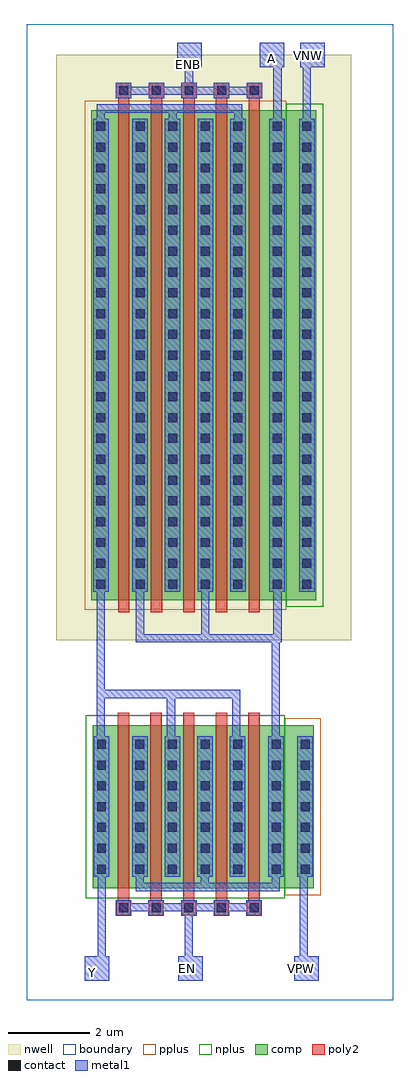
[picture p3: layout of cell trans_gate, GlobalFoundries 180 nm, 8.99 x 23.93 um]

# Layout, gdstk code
import gdstk
lib = gdstk.Library(unit=1e-6, precision=1e-09)
def R(c, l, rs):  # rectangles x0, y0, x1, y1
    for r in rs: c.add(gdstk.rectangle(r[:2], r[2:], *l))
def A(c, l, x, y, w, h, nx, ny, dx, dy):  # array of equal rectangles
    R(c, l, [(x+i*dx, y+j*dy, x+i*dx+w, y+j*dy+h) for i in range(nx) for j in range(ny)])
def P(c, l, *ps):  # polygons
    for p in ps: c.add(gdstk.Polygon(p, *l))
boundary = (0, 0)
nwell = (21, 0)
comp = (22, 0)
poly2 = (30, 0)
pplus = (31, 0)
nplus = (32, 0)
contact = (33, 0)
metal1 = (34, 0)

pfet = lib.new_cell('pfet')
R(pfet, nwell, [(-1.32,-0.99,5.91,13.37)])
R(pfet, comp, [(-0.46,0,5.05,12)])
P(pfet, poly2, [(0.19,-0.3),(0.19,12.3),(0.14,12.3),(0.14,12.68),(0.52,12.68),(0.52,12.3),(0.47,12.3),(0.47,-0.3)],
  [(0.99,-0.3),(0.99,12.3),(0.94,12.3),(0.94,12.68),(1.32,12.68),(1.32,12.3),(1.27,12.3),(1.27,-0.3)],
  [(1.79,-0.3),(1.79,12.3),(1.74,12.3),(1.74,12.68),(2.12,12.68),(2.12,12.3),(2.07,12.3),(2.07,-0.3)],
  [(2.59,-0.3),(2.59,12.3),(2.54,12.3),(2.54,12.68),(2.92,12.68),(2.92,12.3),(2.87,12.3),(2.87,-0.3)],
  [(3.39,-0.3),(3.39,12.3),(3.34,12.3),(3.34,12.68),(3.72,12.68),(3.72,12.3),(3.67,12.3),(3.67,-0.3)])
R(pfet, pplus, [(-0.63,-0.24,4.32,12.24)])
R(pfet, nplus, [(4.32,-0.17,5.22,12.17)])
A(pfet, contact, -0.34, 0.28, 0.22, 0.22, 1, 23, 0, 0.51)
A(pfet, contact, 0.62, 0.28, 0.22, 0.22, 4, 23, 0.8, 0.51)
A(pfet, contact, 3.98, 0.28, 0.22, 0.22, 1, 23, 0, 0.51)
A(pfet, contact, 4.71, 0.28, 0.22, 0.22, 1, 23, 0, 0.51)
A(pfet, contact, 0.22, 12.38, 0.22, 0.22, 5, 1, 0.8, 0)
A(pfet, metal1, 0.54, 0.2, 0.38, 11.6, 4, 1, 0.8, 0)
A(pfet, metal1, 0.14, 12.3, 0.38, 0.38, 5, 1, 0.8, 0)
R(pfet, metal1, [(-0.42,0.2,-0.04,11.8), (3.9,0.2,4.28,11.8), (4.63,0.2,5.01,11.8)])

nfet = lib.new_cell('nfet')
R(nfet, comp, [(-0.42,0,4.99,4)])
P(nfet, poly2, [(0.15,-0.66),(0.15,-0.3),(0.19,-0.3),(0.19,4.3),(0.47,4.3),(0.47,-0.3),(0.51,-0.3),(0.51,-0.66)],
  [(0.95,-0.66),(0.95,-0.3),(0.99,-0.3),(0.99,4.3),(1.27,4.3),(1.27,-0.3),(1.31,-0.3),(1.31,-0.66)],
  [(1.75,-0.66),(1.75,-0.3),(1.79,-0.3),(1.79,4.3),(2.07,4.3),(2.07,-0.3),(2.11,-0.3),(2.11,-0.66)],
  [(2.55,-0.66),(2.55,-0.3),(2.59,-0.3),(2.59,4.3),(2.87,4.3),(2.87,-0.3),(2.91,-0.3),(2.91,-0.66)],
  [(3.35,-0.66),(3.35,-0.3),(3.39,-0.3),(3.39,4.3),(3.67,4.3),(3.67,-0.3),(3.71,-0.3),(3.71,-0.66)])
R(nfet, pplus, [(4.28,-0.17,5.16,4.17)])
R(nfet, nplus, [(-0.59,-0.24,4.28,4.24)])
A(nfet, contact, 0.22, -0.59, 0.22, 0.22, 5, 1, 0.8, 0)
A(nfet, contact, -0.32, 0.36, 0.22, 0.22, 1, 7, 0, 0.51)
A(nfet, contact, 0.62, 0.36, 0.22, 0.22, 4, 7, 0.8, 0.51)
A(nfet, contact, 3.96, 0.36, 0.22, 0.22, 1, 7, 0, 0.51)
A(nfet, contact, 4.67, 0.36, 0.22, 0.22, 1, 7, 0, 0.51)
A(nfet, metal1, 0.14, -0.67, 0.38, 0.38, 5, 1, 0.8, 0)
A(nfet, metal1, 0.54, 0.28, 0.38, 3.44, 4, 1, 0.8, 0)
R(nfet, metal1, [(-0.4,0.28,-0.02,3.72), (3.88,0.28,4.26,3.72), (4.59,0.28,4.97,3.72)])

trans_gate = lib.new_cell('trans_gate')
R(trans_gate, boundary, [(-3.96,-6.97,5.03,16.955)])
R(trans_gate, metal1, [(-2.53,-6.5,-1.93,-5.9), (-0.24,-6.5,0.36,-5.9), (2.6,-6.5,3.2,-5.9), (2.73,-6.01,2.93,-3.84), (-2.24,-0.89,-2.04,0.43), (-0.52,-0.78,-0.32,0.43), (1.08,-0.78,1.28,0.43), (-2.24,0.43,1.28,0.63), (-1.28,1.795,2.28,1.995), (-1.28,1.995,-1.08,3.175), (0.32,1.995,0.52,3.175), (2.81,14.24,3.01,16), (-0.08,15.26,0.12,16.04), (-0.27,15.9,0.33,16.5), (1.76,15.9,2.36,16.5), (2.75,15.9,3.35,16.5)])
trans_gate.add(gdstk.FlexPath([(2.15,-1.635),(2.15,1.81)], 0.2, ends="flush", simple_path=True, layer=34, datatype=0))  # metal1
trans_gate.add(gdstk.FlexPath([(-2.115,-3.765),(-2.115,-6.08)], 0.2, ends="flush", simple_path=True, layer=34, datatype=0))  # metal1
trans_gate.add(gdstk.FlexPath([(2.19,14.435),(2.19,16.155)], 0.2, ends="flush", simple_path=True, layer=34, datatype=0))  # metal1
trans_gate.add(gdstk.FlexPath([(-2.14,3.23),(-2.14,0.505)], 0.2, ends="flush", simple_path=True, layer=34, datatype=0))  # metal1
trans_gate.add(gdstk.FlexPath([(-2.14,14.43),(-2.14,14.885),(-0.375,14.885),(-0.375,14.34)], 0.2, ends="flush", simple_path=True, layer=34, datatype=0))  # metal1
trans_gate.add(gdstk.FlexPath([(2.19,14.725),(2.19,1.795)], 0.2, ends="flush", simple_path=True, layer=34, datatype=0))  # metal1
trans_gate.add(gdstk.FlexPath([(1.23,14.425),(1.23,14.885),(-0.425,14.885)], 0.2, ends="flush", simple_path=True, layer=34, datatype=0))  # metal1
trans_gate.add(gdstk.FlexPath([(0.015,-4.695),(0.015,-6.21)], 0.2, ends="flush", simple_path=True, layer=34, datatype=0))  # metal1
trans_gate.add(gdstk.FlexPath([(-1.19,-3.755),(-1.19,-4.2),(0.41,-4.2),(0.41,-3.765)], 0.2, ends="flush", simple_path=True, layer=34, datatype=0))  # metal1
trans_gate.add(gdstk.FlexPath([(0.415,-4.2),(2.15,-4.2),(2.15,-3.67)], 0.2, ends="flush", simple_path=True, layer=34, datatype=0))  # metal1
trans_gate.add(gdstk.FlexPath([(-1.595,-4.695),(1.725,-4.695)], 0.2, ends="flush", simple_path=True, layer=34, datatype=0))  # metal1
trans_gate.add(gdstk.FlexPath([(-1.59,15.32),(1.725,15.32)], 0.2, ends="flush", simple_path=True, layer=34, datatype=0))  # metal1
trans_gate.add(gdstk.Reference(pfet, (-1.91,2.835)))
trans_gate.add(gdstk.Reference(nfet, (-1.915,-4.23)))
trans_gate.add(gdstk.Label('VNW', (2.95,16.18), layer=34, texttype=10))
trans_gate.add(gdstk.Label('VPW', (2.775,-6.19), layer=34, texttype=10))
trans_gate.add(gdstk.Label('Y', (-2.355,-6.285), layer=34, texttype=10))
trans_gate.add(gdstk.Label('A', (2.04,16.1), layer=34, texttype=10))
trans_gate.add(gdstk.Label('ENB', (0.02,15.96), layer=34, texttype=10))
trans_gate.add(gdstk.Label('EN', (-0.02,-6.21), layer=34, texttype=10))

lib.write_gds('trans_gate.gds')
